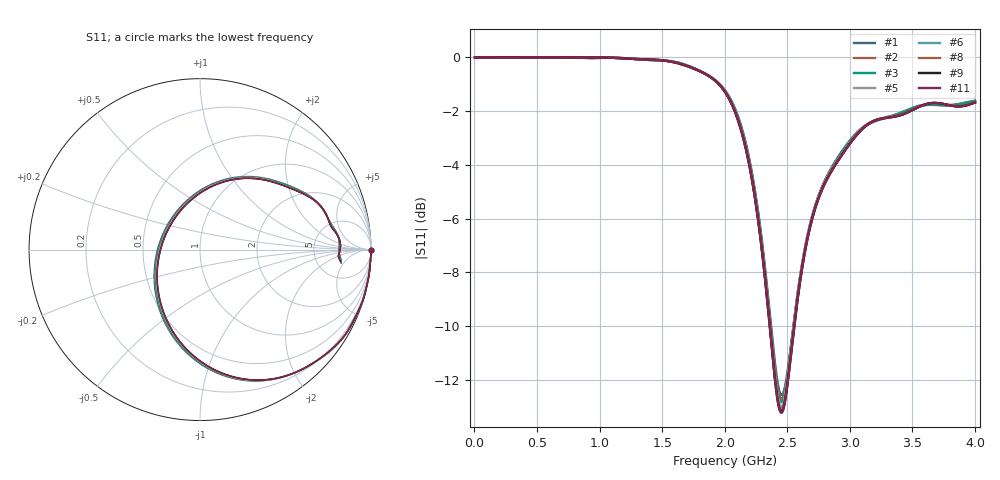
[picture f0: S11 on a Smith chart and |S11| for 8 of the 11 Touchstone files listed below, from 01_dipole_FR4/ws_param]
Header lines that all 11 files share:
! TOUCHSTONE file generated by CST MICROWAVE STUDIO
! Project name: AppElm_antenne_dipole_FR4.cst
! Header version: 2018
! Port assignment regex: !\s*Touchstone port\s*([0-9]+)\s*=\s*(CST MWS port|CST DS port)\s*([0-9]+|Zmin|Zmax)\s*\(\"(.*)\"\)(\s*mode\s*([0-9]+))?.*
! Touchstone port assignment:
! Touchstone port 1 = CST MWS port 1 ("")
# GHz S MA R 50
Fixed: L = 38.8, e = 0.035, f = 2.45e+09, h = 1.6, i = 0.8, l1 = 4, lambda = 122.449, ls = 30, wl = 1.7
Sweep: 4 MHz to 4 GHz
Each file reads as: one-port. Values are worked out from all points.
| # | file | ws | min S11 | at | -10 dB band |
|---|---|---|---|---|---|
| 1 | AppElm_antenne_dipole_FR4_1.s1p | 60 | -12.6 dB | 2.456 GHz | 177.9 MHz wide |
| 2 | AppElm_antenne_dipole_FR4_2.s1p | 64 | -12.7 dB | 2.452 GHz | 182.1 MHz wide |
| 3 | AppElm_antenne_dipole_FR4_3.s1p | 68 | -12.8 dB | 2.452 GHz | 185.4 MHz wide |
| 4 | AppElm_antenne_dipole_FR4_4.s1p | 72 | -12.9 dB | 2.452 GHz | 187.4 MHz wide |
| 5 | AppElm_antenne_dipole_FR4_5.s1p | 76 | -13.0 dB | 2.452 GHz | 189.7 MHz wide |
| 6 | AppElm_antenne_dipole_FR4_6.s1p | 80 | -13.1 dB | 2.452 GHz | 191.5 MHz wide |
| 7 | AppElm_antenne_dipole_FR4_7.s1p | 84 | -13.1 dB | 2.452 GHz | 192.8 MHz wide |
| 8 | AppElm_antenne_dipole_FR4_8.s1p | 88 | -13.2 dB | 2.452 GHz | 194 MHz wide |
| 9 | AppElm_antenne_dipole_FR4_9.s1p | 92 | -13.2 dB | 2.452 GHz | 194.9 MHz wide |
| 10 | AppElm_antenne_dipole_FR4_10.s1p | 96 | -13.2 dB | 2.452 GHz | 195.6 MHz wide |
| 11 | AppElm_antenne_dipole_FR4_11.s1p | 100 | -13.2 dB | 2.452 GHz | 196.2 MHz wide |
